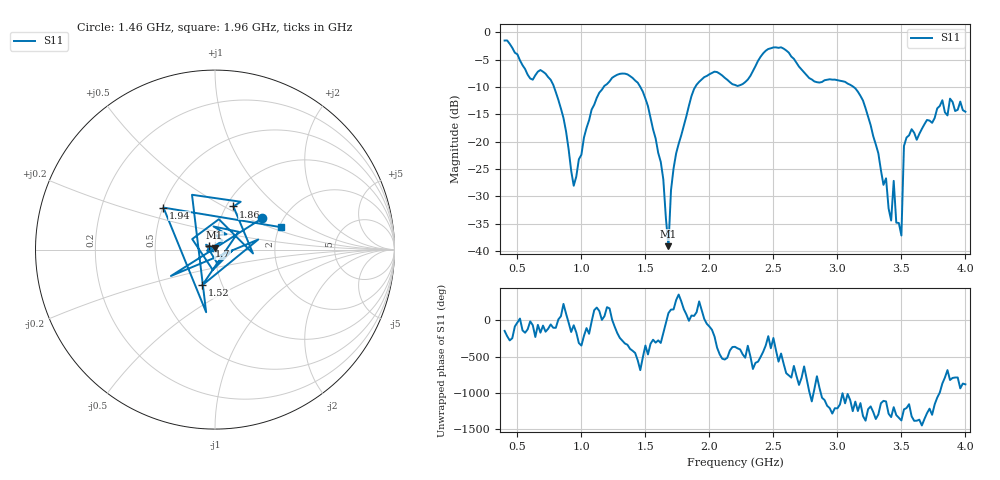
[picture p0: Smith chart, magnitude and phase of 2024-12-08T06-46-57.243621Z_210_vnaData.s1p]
!Created with skrf (http://scikit-rf.org).
# Hz S RI R 50.0
!freq ReS11 ImS11
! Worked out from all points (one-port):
!   181 points, 400 MHz to 4 GHz, reference 50 ohm
!   lowest |S11| = -39.1 dB at 1.68 GHz (marker M1), VSWR 1.02, Z = 49.8 + j1.08 ohm
!   |S11| at or under -10 dB: 785.8 MHz to 1.174 GHz (388.5 MHz wide, 39.6 % of centre); 1.46 GHz to 1.89 GHz (429.5 MHz wide, 25.6 % of centre); 3.126 GHz to end of sweep
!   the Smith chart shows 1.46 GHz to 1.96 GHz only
!   S11 on the Smith chart (normalised r, x): 1.46 GHz: 1.57, +0.61; 1.52 GHz: 0.81, -0.33; 1.7 GHz: 0.94, +0.03; 1.86 GHz: 1.08, +0.56; 1.94 GHz: 0.50, +0.27; 1.96 GHz: 2.05, +0.60
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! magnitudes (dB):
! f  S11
! 400 MHz  -1.5
! 760 MHz  -8.7
! 860 MHz  -15.7
! 940 MHz  -28.1
! 1.08 GHz  -14.1
! 1.3 GHz  -7.6
! 1.46 GHz  -10.0
! 1.52 GHz  -13.5
! 1.62 GHz  -23.7
! 1.68 GHz  -39.1
! 1.7 GHz  -28.9
! 1.76 GHz  -20.4
! 1.86 GHz  -11.7
! 1.94 GHz  -8.6
! 1.96 GHz  -8.2
! 2.2 GHz  -9.6
! 2.46 GHz  -3.1
! 2.66 GHz  -4.9
! 3.1 GHz  -9.6
! 3.26 GHz  -17.0
! 3.42 GHz  -34.4
! 3.44 GHz  -27.2
! 3.46 GHz  -34.8
! 3.5 GHz  -37.2
! 3.52 GHz  -20.8
! 3.56 GHz  -18.9
! 3.82 GHz  -12.4
! 4 GHz  -14.5
